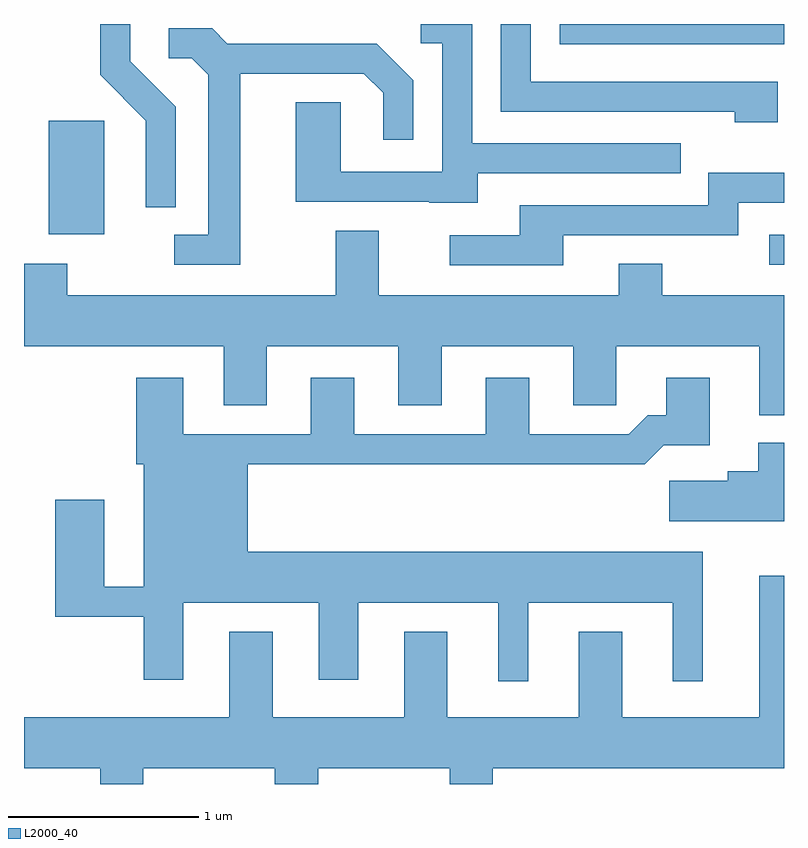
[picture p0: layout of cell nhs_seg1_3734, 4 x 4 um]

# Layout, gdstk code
import gdstk
lib = gdstk.Library(unit=1e-6, precision=1e-09)
def R(c, l, rs):  # rectangles x0, y0, x1, y1
    for r in rs: c.add(gdstk.rectangle(r[:2], r[2:], *l))
def P(c, l, *ps):  # polygons
    for p in ps: c.add(gdstk.Polygon(p, *l))
L2000_40 = (2000, 40)

nhs_seg1_3734 = lib.new_cell('nhs_seg1_3734')
R(nhs_seg1_3734, L2000_40, [(301.533,904.446,301.611,904.604), (297.741,904.606,298.034,905.204), (300.431,905.606,301.611,905.712)])
P(nhs_seg1_3734, L2000_40, [(301.579,905.409),(300.279,905.409),(300.279,905.712),(300.121,905.712),(300.121,905.251),(301.351,905.251),(301.351,905.196),(301.579,905.196)],
  [(298.409,905.277),(298.169,905.517),(298.169,905.712),(298.011,905.712),(298.011,905.444),(298.251,905.204),(298.251,904.748),(298.409,904.748)],
  [(299.999,904.926),(301.068,904.926),(301.068,905.084),(299.969,905.084),(299.969,905.712),(299.698,905.712),(299.698,905.611),(299.811,905.611),(299.811,904.934),(299.279,904.934),(299.279,905.299),(299.041,905.299),(299.041,904.776),(299.745,904.776),(299.745,904.771),(299.999,904.771)],
  [(298.749,905.451),(299.399,905.451),(299.501,905.349),(299.501,905.103),(299.659,905.103),(299.659,905.417),(299.467,905.609),(298.682,905.609),(298.602,905.689),(298.373,905.689),(298.373,905.531),(298.494,905.531),(298.581,905.444),(298.581,904.604),(298.403,904.604),(298.403,904.446),(298.749,904.446)],
  [(300.449,904.601),(301.369,904.601),(301.369,904.771),(301.611,904.771),(301.611,904.929),(301.211,904.929),(301.211,904.759),(300.221,904.759),(300.221,904.599),(299.853,904.599),(299.853,904.441),(300.449,904.441)],
  [(301.611,904.284),(300.969,904.284),(300.969,904.449),(300.741,904.449),(300.741,904.284),(299.479,904.284),(299.479,904.624),(299.251,904.624),(299.251,904.284),(297.839,904.284),(297.839,904.449),(297.611,904.449),(297.611,904.016),(298.661,904.016),(298.661,903.706),(298.889,903.706),(298.889,904.016),(299.581,904.016),(299.581,903.706),(299.809,903.706),(299.809,904.016),(300.501,904.016),(300.501,903.706),(300.729,903.706),(300.729,904.016),(301.481,904.016),(301.481,903.653),(301.611,903.653)],
  [(300.264,902.666),(301.026,902.666),(301.026,902.253),(301.184,902.253),(301.184,902.934),(298.789,902.934),(298.789,903.396),(300.877,903.396),(300.977,903.496),(301.219,903.496),(301.219,903.849),(300.991,903.849),(300.991,903.654),(300.894,903.654),(300.794,903.554),(300.269,903.554),(300.269,903.849),(300.041,903.849),(300.041,903.554),(299.349,903.554),(299.349,903.849),(299.121,903.849),(299.121,903.554),(298.449,903.554),(298.449,903.849),(298.201,903.849),(298.201,903.396),(298.241,903.396),(298.241,902.749),(298.034,902.749),(298.034,903.209),(297.776,903.209),(297.776,902.591),(298.241,902.591),(298.241,902.261),(298.449,902.261),(298.449,902.666),(299.161,902.666),(299.161,902.261),(299.369,902.261),(299.369,902.666),(300.106,902.666),(300.106,902.253),(300.264,902.253)],
  [(301.611,903.509),(301.476,903.509),(301.476,903.359),(301.316,903.359),(301.316,903.309),(301.006,903.309),(301.006,903.096),(301.611,903.096)],
  [(298.239,901.796),(298.931,901.796),(298.931,901.712),(299.159,901.712),(299.159,901.796),(299.851,901.796),(299.851,901.712),(300.079,901.712),(300.079,901.796),(301.611,901.796),(301.611,902.808),(301.481,902.808),(301.481,902.064),(300.759,902.064),(300.759,902.514),(300.531,902.514),(300.531,902.064),(299.839,902.064),(299.839,902.514),(299.611,902.514),(299.611,902.064),(298.919,902.064),(298.919,902.514),(298.691,902.514),(298.691,902.064),(297.611,902.064),(297.611,901.796),(298.011,901.796),(298.011,901.712),(298.239,901.712)])

lib.write_gds('nhs_seg1_3734.gds')
